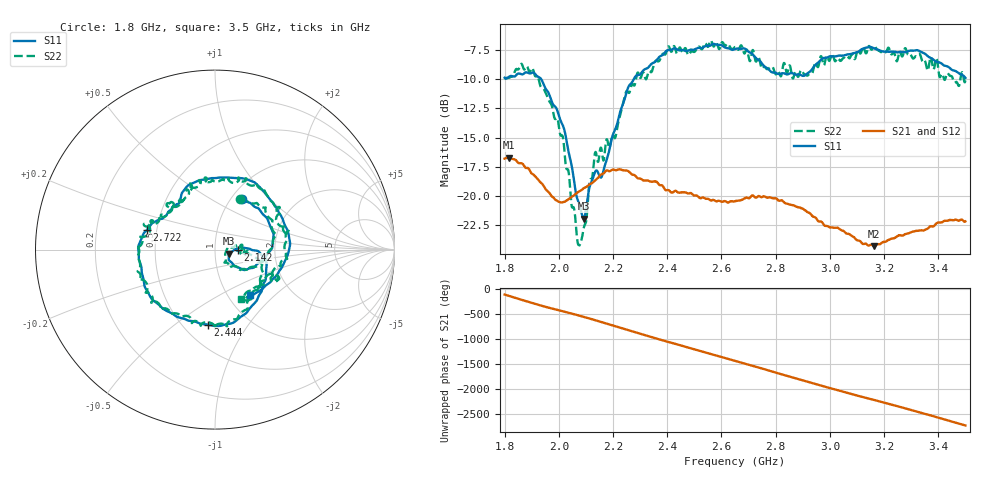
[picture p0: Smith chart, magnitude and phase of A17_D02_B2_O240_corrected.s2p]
! Created with skrf 1.9.0 (http://scikit-rf.org).
# Hz S RI R 50.0
!freq ReS11 ImS11 ReS21 ImS21 ReS12 ImS12 ReS22 ImS22
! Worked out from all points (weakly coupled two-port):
!   1601 points, 1.8 GHz to 3.5 GHz, reference 50 ohm
!   highest |S21| = -16.73 dB at 1.815 GHz (marker M1); lowest = -24.3 dB at 3.163 GHz (marker M2)
!   lowest |S11| = -21.9 dB at 2.092 GHz (marker M3), VSWR 1.17, Z = 58.2 - j2.71 ohm
!   |S11| at or under -10 dB: 1.935 GHz to 2.277 GHz (341.8 MHz wide, 16.2 % of centre)
!   |S22| runs from -24.2 to -6.7 dB; largest |S21 - S12| = 0.0025
!   S11 on the Smith chart (normalised r, x): 1.8 GHz: 1.12, +0.71; 2.142 GHz: 1.29, -0.01; 2.444 GHz: 0.65, -0.66; 2.722 GHz: 0.44, +0.12; 3.5 GHz: 1.25, -0.71
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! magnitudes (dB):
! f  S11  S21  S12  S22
! 1.8 GHz  -9.9  -16.8  -16.8  -10.0
! 1.815 GHz  -9.8  -16.7  -16.7  -9.9
! 1.902 GHz  -9.5  -18.1  -18.1  -9.1
! 1.967 GHz  -11.5  -19.8  -19.9  -12.0
! 2.02 GHz  -14.3  -20.5  -20.5  -15.9
! 2.07 GHz  -20.3  -19.7  -19.7  -24.0
! 2.084 GHz  -21.4  -19.5  -19.4  -23.7
! 2.092 GHz  -21.9  -19.3  -19.4  -22.7
! 2.117 GHz  -19.0  -19.0  -19.0  -18.6
! 2.142 GHz  -17.9  -18.5  -18.5  -16.9
! 2.161 GHz  -18.1  -18.1  -18.0  -16.6
! 2.209 GHz  -14.2  -17.8  -17.7  -15.0
! 2.259 GHz  -10.6  -17.9  -17.9  -11.2
! 2.367 GHz  -8.2  -19.0  -18.9  -8.5
! 2.444 GHz  -7.5  -19.7  -19.7  -7.4
! 2.65 GHz  -7.4  -20.4  -20.4  -7.3
! 2.722 GHz  -8.1  -20.1  -20.0  -8.1
! 2.81 GHz  -9.6  -20.4  -20.3  -9.4
! 2.934 GHz  -9.2  -21.7  -21.6  -9.5
! 3.163 GHz  -7.4  -24.3  -24.2  -7.2
! 3.217 GHz  -7.7  -23.7  -23.7  -7.3
! 3.5 GHz  -9.9  -22.2  -22.2  -10.1
